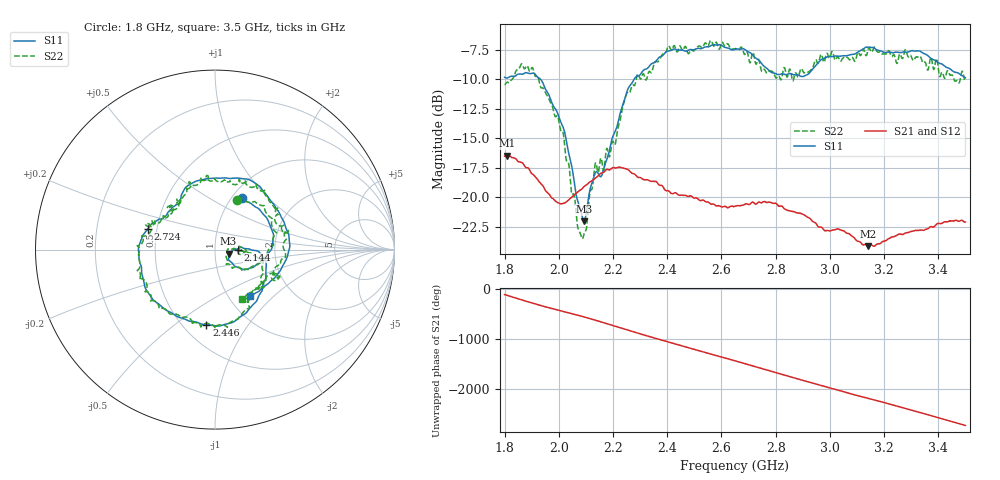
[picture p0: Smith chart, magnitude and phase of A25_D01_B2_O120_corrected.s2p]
! Created with skrf 1.9.0 (http://scikit-rf.org).
# Hz S RI R 50.0
!freq ReS11 ImS11 ReS21 ImS21 ReS12 ImS12 ReS22 ImS22
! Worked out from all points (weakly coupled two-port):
!   1601 points, 1.8 GHz to 3.5 GHz, reference 50 ohm
!   highest |S21| = -16.46 dB at 1.808 GHz (marker M1); lowest = -24.1 dB at 3.142 GHz (marker M2)
!   lowest |S11| = -22.0 dB at 2.093 GHz (marker M3), VSWR 1.17, Z = 58.1 - j2.75 ohm
!   |S11| at or under -10 dB: 1.934 GHz to 2.277 GHz (343.7 MHz wide, 16.3 % of centre)
!   |S22| runs from -23.5 to -6.7 dB; largest |S21 - S12| = 0.0029
!   S11 on the Smith chart (normalised r, x): 1.8 GHz: 1.12, +0.71; 2.144 GHz: 1.29, -0.00; 2.446 GHz: 0.65, -0.66; 2.724 GHz: 0.45, +0.12; 3.5 GHz: 1.25, -0.72
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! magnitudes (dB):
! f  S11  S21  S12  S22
! 1.8 GHz  -9.8  -16.5  -16.5  -10.5
! 1.808 GHz  -9.9  -16.5  -16.5  -10.2
! 1.882 GHz  -9.4  -17.5  -17.5  -8.8
! 1.966 GHz  -11.4  -19.8  -19.9  -11.8
! 2.014 GHz  -13.9  -20.5  -20.5  -14.4
! 2.084 GHz  -21.4  -19.3  -19.3  -23.3
! 2.093 GHz  -22.0  -19.1  -19.1  -23.1
! 2.13 GHz  -18.1  -18.4  -18.4  -17.8
! 2.144 GHz  -17.9  -18.2  -18.2  -17.9
! 2.161 GHz  -17.9  -17.9  -17.9  -17.3
! 2.208 GHz  -14.4  -17.5  -17.5  -15.5
! 2.259 GHz  -10.6  -17.7  -17.7  -11.2
! 2.367 GHz  -8.2  -18.9  -18.8  -8.5
! 2.446 GHz  -7.5  -19.8  -19.8  -7.2
! 2.65 GHz  -7.4  -20.7  -20.7  -7.4
! 2.724 GHz  -8.2  -20.6  -20.5  -8.5
! 2.813 GHz  -9.6  -20.7  -20.6  -9.7
! 2.934 GHz  -9.2  -22.0  -22.0  -9.1
! 3.142 GHz  -7.3  -24.1  -24.0  -7.4
! 3.217 GHz  -7.7  -23.5  -23.5  -7.6
! 3.331 GHz  -7.6  -22.8  -22.8  -8.0
! 3.5 GHz  -9.9  -22.1  -22.1  -10.1
